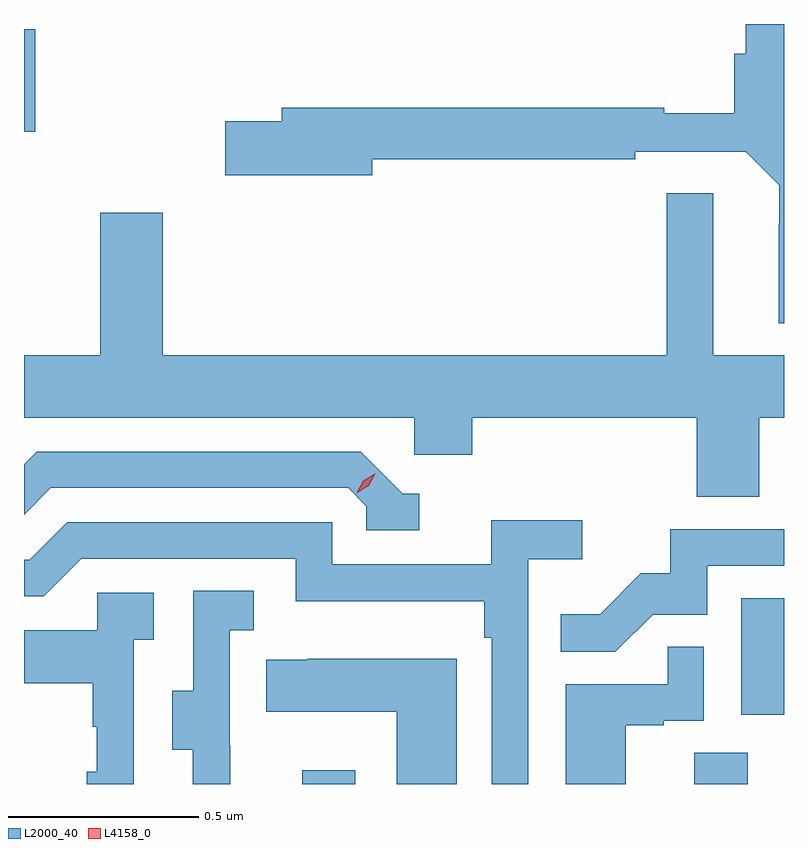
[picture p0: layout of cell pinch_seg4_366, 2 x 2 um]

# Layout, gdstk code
import gdstk
lib = gdstk.Library(unit=1e-6, precision=1e-09)
def R(c, l, rs):  # rectangles x0, y0, x1, y1
    for r in rs: c.add(gdstk.rectangle(r[:2], r[2:], *l))
def P(c, l, *ps):  # polygons
    for p in ps: c.add(gdstk.Polygon(p, *l))
L2000_40 = (2000, 40)
L4158_0 = (4158, 0)

pinch_seg4_366 = lib.new_cell('pinch_seg4_366')
R(pinch_seg4_366, L2000_40, [(956.747,793.192,956.887,793.228), (957.779,793.192,957.919,793.274), (957.902,793.374,958.015,793.681), (956.015,794.909,956.045,795.178)])
P(pinch_seg4_366, L2000_40, [(958.015,795.192),(957.914,795.192),(957.914,795.114),(957.884,795.114),(957.884,794.957),(957.7,794.957),(957.7,794.972),(956.693,794.972),(956.693,794.936),(956.544,794.936),(956.544,794.794),(956.932,794.794),(956.932,794.836),(957.623,794.836),(957.623,794.856),(957.914,794.856),(958.002,794.768),(958.002,794.666),(958.001,794.666),(958.001,794.405),(958.015,794.405)],
  [(957.95,794.156),(958.015,794.156),(958.015,794.32),(957.829,794.32),(957.829,794.746),(957.707,794.746),(957.707,794.32),(956.38,794.32),(956.38,794.695),(956.216,794.695),(956.216,794.32),(956.015,794.32),(956.015,794.156),(957.042,794.156),(957.042,794.058),(957.194,794.058),(957.194,794.156),(957.785,794.156),(957.785,793.948),(957.95,793.948)],
  [(957.055,793.956),(957.012,793.956),(956.901,794.067),(956.048,794.067),(956.015,794.034),(956.015,793.901),(956.085,793.971),(956.868,793.971),(956.916,793.923),(956.916,793.86),(957.055,793.86)],
  [(957.342,793.784),(957.484,793.784),(957.484,793.886),(957.245,793.886),(957.245,793.77),(956.826,793.77),(956.826,793.881),(956.129,793.881),(956.03,793.782),(956.015,793.782),(956.015,793.686),(956.067,793.686),(956.166,793.785),(956.73,793.785),(956.73,793.673),(957.226,793.673),(957.226,793.577),(957.246,793.577),(957.246,793.192),(957.342,793.192)],
  [(957.669,793.638),(957.813,793.638),(957.813,793.767),(958.015,793.767),(958.015,793.863),(957.715,793.863),(957.715,793.746),(957.638,793.746),(957.531,793.639),(957.427,793.639),(957.427,793.54),(957.571,793.54)],
  [(956.558,793.293),(956.556,793.293),(956.556,793.597),(956.62,793.597),(956.62,793.7),(956.46,793.7),(956.46,793.437),(956.405,793.437),(956.405,793.282),(956.459,793.282),(956.459,793.192),(956.558,793.192)],
  [(956.304,793.571),(956.356,793.571),(956.356,793.695),(956.208,793.695),(956.208,793.597),(956.015,793.597),(956.015,793.457),(956.196,793.457),(956.196,793.343),(956.206,793.343),(956.206,793.224),(956.18,793.224),(956.18,793.192),(956.304,793.192)],
  [(957.598,793.347),(957.698,793.347),(957.698,793.359),(957.804,793.359),(957.804,793.553),(957.709,793.553),(957.709,793.455),(957.44,793.455),(957.44,793.192),(957.598,793.192)],
  [(957.154,793.522),(956.761,793.522),(956.761,793.519),(956.653,793.519),(956.653,793.382),(956.996,793.382),(956.996,793.192),(957.154,793.192)])
P(pinch_seg4_366, L4158_0, [(956.891,793.958),(956.891,793.958),(956.908,793.99),(956.938,794.009),(956.939,794.009),(956.939,794.009),(956.922,793.977),(956.892,793.958)])

lib.write_gds('pinch_seg4_366.gds')
